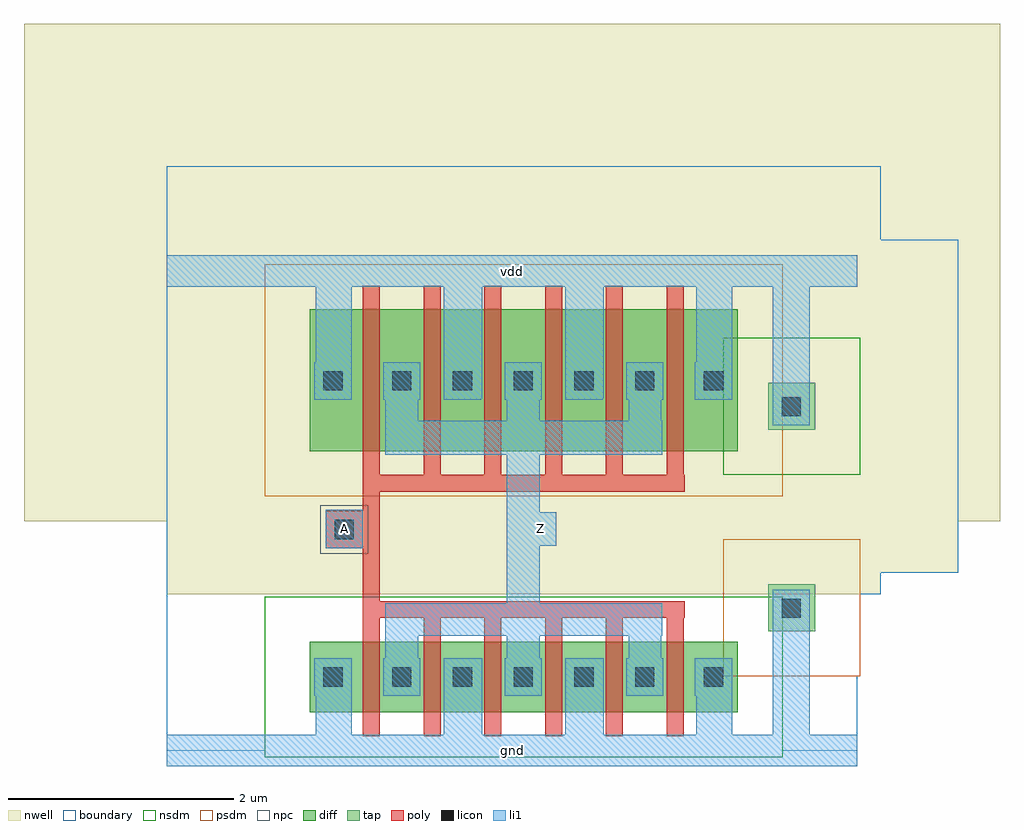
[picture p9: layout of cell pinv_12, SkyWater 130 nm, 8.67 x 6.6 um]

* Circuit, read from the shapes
.subckt pinv_12 A Z gnd vdd
XM1 Z A gnd gnd sky130_fd_pr__nfet_01v8 w=0.63 l=0.15 m=6
XM2 Z A vdd vdd sky130_fd_pr__pfet_01v8 w=1.26 l=0.15 m=6
.ends

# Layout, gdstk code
import gdstk
lib = gdstk.Library(unit=1e-6, precision=1e-09)
def R(c, l, rs):  # rectangles x0, y0, x1, y1
    for r in rs: c.add(gdstk.rectangle(r[:2], r[2:], *l))
def A(c, l, x, y, w, h, nx, ny, dx, dy):  # array of equal rectangles
    R(c, l, [(x+i*dx, y+j*dy, x+i*dx+w, y+j*dy+h) for i in range(nx) for j in range(ny)])
nwell = (64, 20)
diff = (65, 20)
tap = (65, 44)
poly = (66, 20)
licon = (66, 44)
li1 = (67, 20)
nsdm = (93, 44)
psdm = (94, 20)
npc = (95, 20)
boundary = (235, 4)

contact_12 = lib.new_cell('contact_12')
R(contact_12, nwell, [(-1.27,-1.27,1.69,1.69)])
R(contact_12, diff, [(0,0,0.42,0.42)])
R(contact_12, licon, [(0.12,0.12,0.29,0.29)])
R(contact_12, li1, [(0.04,0.04,0.37,0.37)])
R(contact_12, psdm, [(-0.4,-0.4,0.82,0.82)])
R(contact_12, boundary, [(-1.27,-1.27,1.69,1.69)])

pmos_m6_w1_260_sli_dli_d = lib.new_cell('pmos_m6_w1_260_sli_dli_da_p')
R(pmos_m6_w1_260_sli_dli_d, nwell, [(-1.27,-1.27,5.07,2.53)])
R(pmos_m6_w1_260_sli_dli_d, diff, [(0,0,3.8,1.26)])
A(pmos_m6_w1_260_sli_dli_d, poly, 0.47, -0.21, 0.15, 1.68, 6, 1, 0.54, 0)
R(pmos_m6_w1_260_sli_dli_d, poly, [(0.47,-0.36,3.33,-0.21)])
A(pmos_m6_w1_260_sli_dli_d, li1, 0.67, 0.12, 0.29, 0.51, 3, 1, 1.08, 0)
R(pmos_m6_w1_260_sli_dli_d, li1, [(0.67,-0.03,3.13,0.27), (0.05,0.47,0.37,0.79), (1.19,0.47,1.53,0.79), (2.27,0.47,2.61,0.79), (3.43,0.47,3.75,0.79)])
R(pmos_m6_w1_260_sli_dli_d, psdm, [(-0.4,-0.4,4.2,1.66)])
R(pmos_m6_w1_260_sli_dli_d, boundary, [(-1.27,-1.27,5.07,2.53)])
pmos_m6_w1_260_sli_dli_d.add(gdstk.Reference(contact_12, (0,0.42)))
pmos_m6_w1_260_sli_dli_d.add(gdstk.Reference(contact_12, (0.61,0.42)))
pmos_m6_w1_260_sli_dli_d.add(gdstk.Reference(contact_12, (1.15,0.42)))
pmos_m6_w1_260_sli_dli_d.add(gdstk.Reference(contact_12, (1.69,0.42)))
pmos_m6_w1_260_sli_dli_d.add(gdstk.Reference(contact_12, (2.23,0.42)))
pmos_m6_w1_260_sli_dli_d.add(gdstk.Reference(contact_12, (2.77,0.42)))
pmos_m6_w1_260_sli_dli_d.add(gdstk.Reference(contact_12, (3.38,0.42)))
pmos_m6_w1_260_sli_dli_d.add(gdstk.Label('G', (1.9,-0.285), layer=66, texttype=20))
pmos_m6_w1_260_sli_dli_d.add(gdstk.Label('S', (3.59,0.63), layer=67, texttype=20))
pmos_m6_w1_260_sli_dli_d.add(gdstk.Label('S', (2.44,0.63), layer=67, texttype=20))
pmos_m6_w1_260_sli_dli_d.add(gdstk.Label('S', (0.21,0.63), layer=67, texttype=20))
pmos_m6_w1_260_sli_dli_d.add(gdstk.Label('S', (1.36,0.63), layer=67, texttype=20))
pmos_m6_w1_260_sli_dli_d.add(gdstk.Label('D', (1.9,0.12), layer=67, texttype=20))

contact_11 = lib.new_cell('contact_11')
R(contact_11, diff, [(0,0,0.42,0.42)])
R(contact_11, licon, [(0.12,0.12,0.29,0.29)])
R(contact_11, li1, [(0.04,0.04,0.37,0.37)])
R(contact_11, nsdm, [(-0.4,-0.4,0.82,0.82)])
R(contact_11, boundary, [(-0.4,-0.4,0.82,0.82)])

nmos_m6_w0_630_sli_dli_d = lib.new_cell('nmos_m6_w0_630_sli_dli_da_p')
R(nmos_m6_w0_630_sli_dli_d, diff, [(0,0,3.8,0.63)])
A(nmos_m6_w0_630_sli_dli_d, poly, 0.47, -0.21, 0.15, 1.05, 6, 1, 0.54, 0)
R(nmos_m6_w0_630_sli_dli_d, poly, [(0.47,0.84,3.33,0.99)])
A(nmos_m6_w0_630_sli_dli_d, li1, 0.67, 0.31, 0.29, 0.52, 3, 1, 1.08, 0)
R(nmos_m6_w0_630_sli_dli_d, li1, [(0.05,0.15,0.37,0.48), (1.19,0.15,1.53,0.48), (2.27,0.15,2.61,0.48), (3.43,0.15,3.75,0.48), (0.67,0.68,3.13,0.97)])
R(nmos_m6_w0_630_sli_dli_d, nsdm, [(-0.4,-0.4,4.2,1.03)])
R(nmos_m6_w0_630_sli_dli_d, boundary, [(-0.4,-0.4,4.2,1.03)])
nmos_m6_w0_630_sli_dli_d.add(gdstk.Reference(contact_11, (0,0.11)))
nmos_m6_w0_630_sli_dli_d.add(gdstk.Reference(contact_11, (0.61,0.11)))
nmos_m6_w0_630_sli_dli_d.add(gdstk.Reference(contact_11, (1.15,0.11)))
nmos_m6_w0_630_sli_dli_d.add(gdstk.Reference(contact_11, (1.69,0.11)))
nmos_m6_w0_630_sli_dli_d.add(gdstk.Reference(contact_11, (2.23,0.11)))
nmos_m6_w0_630_sli_dli_d.add(gdstk.Reference(contact_11, (2.77,0.11)))
nmos_m6_w0_630_sli_dli_d.add(gdstk.Reference(contact_11, (3.38,0.11)))
nmos_m6_w0_630_sli_dli_d.add(gdstk.Label('G', (1.9,0.915), layer=66, texttype=20))
nmos_m6_w0_630_sli_dli_d.add(gdstk.Label('S', (2.44,0.315), layer=67, texttype=20))
nmos_m6_w0_630_sli_dli_d.add(gdstk.Label('S', (3.59,0.315), layer=67, texttype=20))
nmos_m6_w0_630_sli_dli_d.add(gdstk.Label('S', (0.21,0.315), layer=67, texttype=20))
nmos_m6_w0_630_sli_dli_d.add(gdstk.Label('S', (1.36,0.315), layer=67, texttype=20))
nmos_m6_w0_630_sli_dli_d.add(gdstk.Label('D', (1.9,0.825), layer=67, texttype=20))

contact_13 = lib.new_cell('contact_13')
R(contact_13, nwell, [(-1.27,-1.27,1.69,1.69)])
R(contact_13, tap, [(0,0,0.42,0.42)])
R(contact_13, licon, [(0.12,0.12,0.29,0.29)])
R(contact_13, li1, [(0.04,0.04,0.37,0.37)])
R(contact_13, nsdm, [(-0.4,-0.4,0.82,0.82)])
R(contact_13, boundary, [(-1.27,-1.27,1.69,1.69)])

contact_14 = lib.new_cell('contact_14')
R(contact_14, tap, [(0,0,0.42,0.42)])
R(contact_14, licon, [(0.12,0.12,0.29,0.29)])
R(contact_14, li1, [(0.04,0.04,0.37,0.37)])
R(contact_14, psdm, [(-0.4,-0.4,0.82,0.82)])
R(contact_14, boundary, [(-0.4,-0.4,0.82,0.82)])

contact_15 = lib.new_cell('contact_15')
R(contact_15, poly, [(0,0,0.33,0.33)])
R(contact_15, licon, [(0.08,0.08,0.25,0.25)])
R(contact_15, li1, [(0,0,0.33,0.33)])
R(contact_15, npc, [(-0.05,-0.05,0.38,0.38)])
R(contact_15, boundary, [(-0.05,-0.05,0.38,0.38)])

pinv_12 = lib.new_cell('pinv_12')
R(pinv_12, nwell, [(-1.27,2.04,7.4,6.46)])
R(pinv_12, poly, [(1.74,1.33,1.89,2.3), (1.58,1.8,1.74,2.13)])
R(pinv_12, li1, [(0,-0.14,6.13,0.14), (1.32,-0.14,1.64,0.49), (2.46,-0.14,2.8,0.49), (3.54,-0.14,3.88,0.49), (4.7,-0.14,5.02,0.49), (5.38,0,5.71,1.27), (3.02,1.02,3.31,2.93), (1.41,1.8,1.74,2.14), (3.17,1.82,3.46,2.12), (5.38,3.06,5.71,4.26), (1.32,3.13,1.64,4.4), (2.46,3.13,2.8,4.4), (3.54,3.13,3.88,4.4), (4.7,3.13,5.02,4.4), (0,4.12,6.13,4.4)])
R(pinv_12, boundary, [(0,0,6.13,4.26), (0,0,6.13,4.26)])
pinv_12.add(gdstk.Reference(pmos_m6_w1_260_sli_dli_d, (1.27,2.66)))
pinv_12.add(gdstk.Reference(nmos_m6_w0_630_sli_dli_d, (1.27,0.34)))
pinv_12.add(gdstk.Reference(contact_13, (5.34,2.85)))
pinv_12.add(gdstk.Reference(contact_14, (5.34,1.06)))
pinv_12.add(gdstk.Reference(contact_15, (1.41,1.8)))
pinv_12.add(gdstk.Label('A', (1.575,1.97), layer=67, texttype=20))
pinv_12.add(gdstk.Label('Z', (3.315,1.97), layer=67, texttype=20))
pinv_12.add(gdstk.Label('gnd', (3.065,0), layer=67, texttype=20))
pinv_12.add(gdstk.Label('vdd', (3.065,4.26), layer=67, texttype=20))

lib.write_gds('pinv_12.gds')
